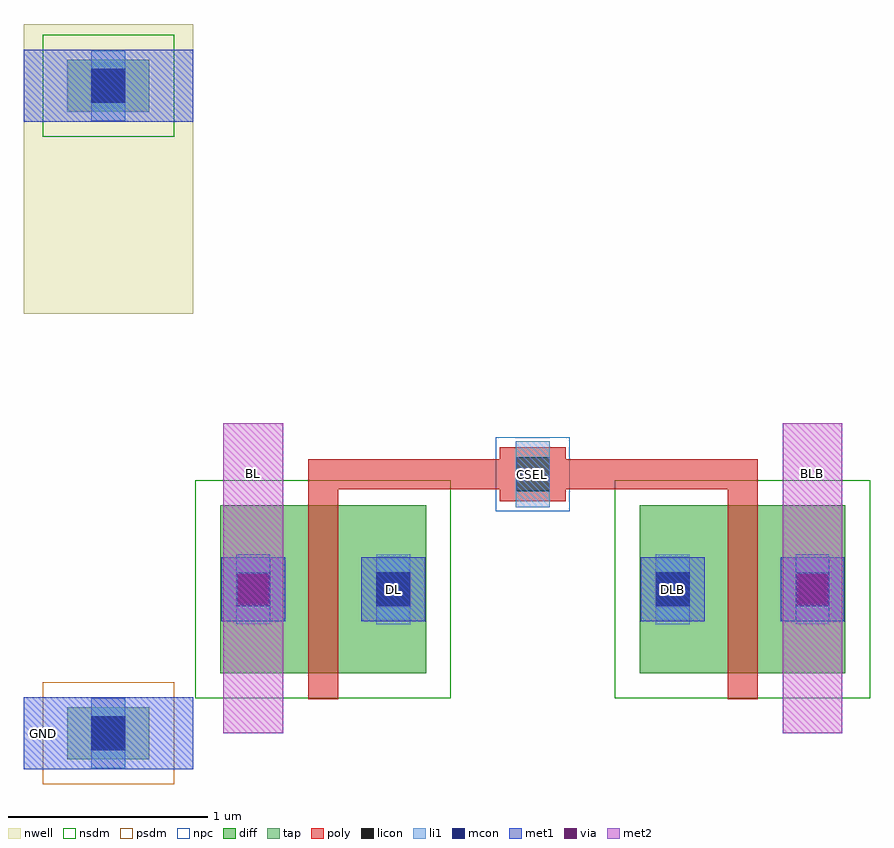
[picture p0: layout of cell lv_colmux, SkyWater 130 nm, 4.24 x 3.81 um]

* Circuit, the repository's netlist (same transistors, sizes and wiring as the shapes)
* NGSPICE file created from lv_colmux.ext - technology: sky130A

.subckt colmux BL DL BLB DLB CSEL VSUBS
X0 DL CSEL BL VSUBS sky130_fd_pr__nfet_01v8 ad=0.3696 pd=2.56 as=0.3696 ps=2.56 w=0.84 l=0.15
X1 BLB CSEL DLB VSUBS sky130_fd_pr__nfet_01v8 ad=0.3696 pd=2.56 as=0.3696 ps=2.56 w=0.84 l=0.15
.ends

.subckt lv_colmux BL DL BLB DLB CSEL GND
Xu BL DL BLB DLB CSEL GND colmux
.ends

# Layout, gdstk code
import gdstk
lib = gdstk.Library(unit=1e-6, precision=1e-09)
def R(c, l, rs):  # rectangles x0, y0, x1, y1
    for r in rs: c.add(gdstk.rectangle(r[:2], r[2:], *l))
nwell = (64, 20)
diff = (65, 20)
tap = (65, 44)
poly = (66, 20)
licon = (66, 44)
li1 = (67, 20)
mcon = (67, 44)
met1 = (68, 20)
via = (68, 44)
met2 = (69, 20)
nsdm = (93, 44)
psdm = (94, 20)
npc = (95, 20)

colmux = lib.new_cell('colmux')
R(colmux, diff, [(-0.165,0.3,0.865,1.14), (1.935,0.3,2.965,1.14)])
R(colmux, poly, [(0.275,0.17,0.425,1.22), (2.375,0.17,2.525,1.22), (1.235,1.16,1.565,1.22), (0.275,1.22,2.525,1.37), (1.235,1.37,1.565,1.43)])
R(colmux, licon, [(-0.085,0.635,0.085,0.805), (0.615,0.635,0.785,0.805), (2.015,0.635,2.185,0.805), (2.715,0.635,2.885,0.805), (1.315,1.21,1.485,1.38)])
R(colmux, li1, [(-0.085,0.545,0.085,0.895), (0.615,0.545,0.785,0.895), (2.015,0.545,2.185,0.895), (2.715,0.545,2.885,0.895), (1.315,1.13,1.485,1.46)])
R(colmux, mcon, [(-0.085,0.635,0.085,0.805), (0.615,0.635,0.785,0.805), (2.015,0.635,2.185,0.805), (2.715,0.635,2.885,0.805)])
R(colmux, met1, [(-0.16,0.56,0.16,0.88), (0.54,0.56,0.86,0.88), (1.94,0.56,2.26,0.88), (2.64,0.56,2.96,0.88)])
R(colmux, via, [(-0.075,0.645,0.075,0.795), (2.725,0.645,2.875,0.795)])
R(colmux, met2, [(-0.15,0,0.15,1.55), (2.65,0,2.95,1.55)])
R(colmux, nsdm, [(-0.29,0.175,0.99,1.265), (1.81,0.175,3.09,1.265)])
R(colmux, npc, [(1.215,1.11,1.585,1.48)])
colmux.add(gdstk.Label('BL', (0,1.3), layer=69, texttype=5))
colmux.add(gdstk.Label('DL', (0.7,0.72), layer=68, texttype=5))
colmux.add(gdstk.Label('BLB', (2.8,1.3), layer=69, texttype=5))
colmux.add(gdstk.Label('DLB', (2.1,0.72), layer=68, texttype=5))
colmux.add(gdstk.Label('CSEL', (1.4,1.295), layer=67, texttype=5))

tap_ = lib.new_cell('tap')
R(tap_, nwell, [(0,2.1,0.85,3.55)])
R(tap_, tap, [(0.22,-0.13,0.63,0.13), (0.22,3.11,0.63,3.37)])
R(tap_, licon, [(0.34,-0.085,0.51,0.085), (0.34,3.155,0.51,3.325)])
R(tap_, li1, [(0.34,-0.175,0.51,0.175), (0.34,3.065,0.51,3.415)])
R(tap_, mcon, [(0.34,-0.085,0.51,0.085), (0.34,3.155,0.51,3.325)])
R(tap_, met1, [(0,-0.18,0.85,0.18), (0,3.06,0.85,3.42)])
R(tap_, nsdm, [(0.095,2.985,0.755,3.495)])
R(tap_, psdm, [(0.095,-0.255,0.755,0.255)])
tap_.add(gdstk.Label('VDD', (0.1,3.24), layer=68, texttype=5))
tap_.add(gdstk.Label('GND', (0.1,0), layer=68, texttype=5))

lv_colmux = lib.new_cell('lv_colmux')
R(lv_colmux, li1, [(2.465,1.21,2.635,1.38)])
R(lv_colmux, met1, [(0.015,-0.085,0.185,0.085), (1.765,0.635,1.935,0.805), (3.165,0.635,3.335,0.805)])
R(lv_colmux, met2, [(1.065,1.215,1.235,1.385), (3.865,1.215,4.035,1.385)])
lv_colmux.add(gdstk.Reference(colmux, (1.15,0)))
lv_colmux.add(gdstk.Reference(tap_, (0,0)))
lv_colmux.add(gdstk.Label('BL', (1.15,1.3), layer=69, texttype=5))
lv_colmux.add(gdstk.Label('DL', (1.85,0.72), layer=68, texttype=5))
lv_colmux.add(gdstk.Label('BLB', (3.95,1.3), layer=69, texttype=5))
lv_colmux.add(gdstk.Label('DLB', (3.25,0.72), layer=68, texttype=5))
lv_colmux.add(gdstk.Label('CSEL', (2.55,1.295), layer=67, texttype=5))
lv_colmux.add(gdstk.Label('GND', (0.1,0), layer=68, texttype=5))

lib.write_gds('lv_colmux.gds')
